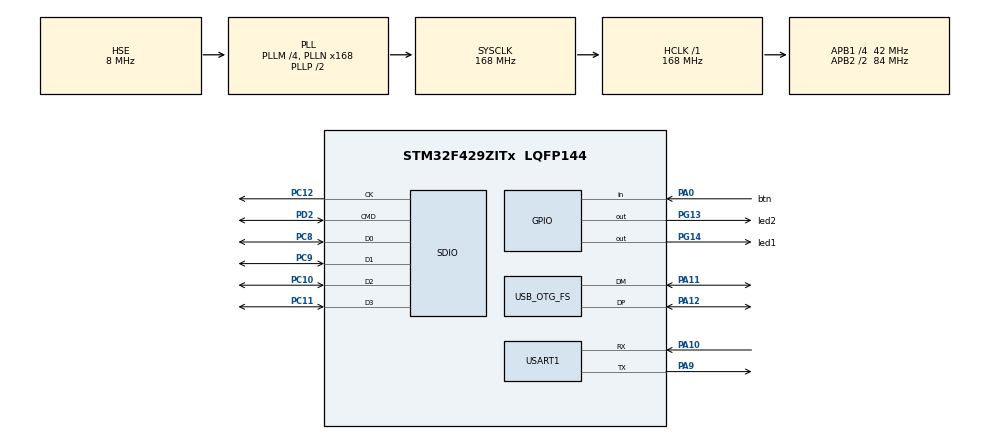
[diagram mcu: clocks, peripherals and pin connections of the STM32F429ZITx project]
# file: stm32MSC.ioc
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Mcu.Family=STM32F4
Dma.SDIO_TX.1.MemInc=DMA_MINC_ENABLE
USB_DEVICE.CLASS_NAME_FS=MSC
RCC.CortexFreq_Value=168000000
PC10.GPIO_PuPd=GPIO_PULLUP
FATFS._USE_LFN=1
FATFS0.BSP.api=Unknown
VP_FATFS_VS_SDIO.Mode=SDIO
PC12.Signal=SDIO_CK
PC10.Signal=SDIO_D2
PA11.Mode=Device_Only
PA0/WKUP.Signal=GPIO_Input
PG13.Signal=GPIO_Output
Dma.SDIO_TX.1.PeriphBurst=DMA_PBURST_INC4
RCC.SYSCLKSource=RCC_SYSCLKSOURCE_PLLCLK
ProjectManager.StackSize=0x4000
Dma.SDIO_RX.0.Direction=DMA_PERIPH_TO_MEMORY
Dma.SDIO_TX.1.PeriphInc=DMA_PINC_DISABLE
Dma.SDIO_TX.1.Instance=DMA2_Stream6
VP_TIM7_VS_ClockSourceINT.Mode=Enable_Timer
PC11.GPIO_PuPd=GPIO_PULLUP
PA12.Signal=USB_OTG_FS_DP
Dma.SDIO_TX.1.PeriphDataAlignment=DMA_PDATAALIGN_WORD
PH0/OSC_IN.Mode=HSE-External-Oscillator
RCC.HCLKFreq_Value=168000000
RCC.APB2TimFreq_Value=168000000
PH1/OSC_OUT.Signal=RCC_OSC_OUT
Dma.SDIO_TX.1.FIFOMode=DMA_FIFOMODE_ENABLE
RCC.AHBFreq_Value=168000000
FATFS0.BSP.ip=GPIO
RCC.HSE_VALUE=8000000
FATFS0.BSP.i2caddr=0
Dma.SDIO_TX.1.MemBurst=DMA_MBURST_INC4
PA14.Mode=Serial_Wire
PC9.Mode=SD_4_bits_Wide_bus
Dma.SDIO_TX.1.Direction=DMA_MEMORY_TO_PERIPH
Dma.SDIO_RX.0.MemDataAlignment=DMA_MDATAALIGN_WORD
PH1/OSC_OUT.Mode=HSE-External-Oscillator
Mcu.Package=LQFP144
FATFS0.BSP.solution=PA0/WKUP
NVIC.OTG_FS_IRQn=true\:0\:0\:false\:false\:true\:true\:true
PA10.Signal=USART1_RX
USB_OTG_FS.VirtualMode=Device_Only
PC11.Mode=SD_4_bits_Wide_bus
Dma.SDIO_TX.1.FIFOThreshold=DMA_FIFO_THRESHOLD_FULL
RCC.PLLSAIN=50
Dma.SDIO_TX.1.Priority=DMA_PRIORITY_LOW
RCC.APB2CLKDivider=RCC_HCLK_DIV2
Dma.Request1=SDIO_TX
RCC.APB1TimFreq_Value=84000000
VP_USB_DEVICE_VS_USB_DEVICE_MSC_FS.Mode=MSC_FS
Dma.SDIO_RX.0.MemBurst=DMA_MBURST_INC4
PC12.GPIO_PuPd=GPIO_PULLUP
Dma.SDIO_RX.0.Instance=DMA2_Stream3
NVIC.USART1_IRQn=true\:0\:0\:false\:false\:true\:true\:true
Dma.Request0=SDIO_RX
NVIC.TIM7_IRQn=true\:0\:0\:false\:false\:true\:true\:true
FATFS._MIN_SS=512
Dma.SDIO_RX.0.FIFOMode=DMA_FIFOMODE_ENABLE
FATFS0.BSP.STBoard=false
USB_DEVICE.VirtualMode-MSC_FS=Msc
Dma.SDIO_RX.0.Mode=DMA_PFCTRL
Dma.SDIO_RX.0.Priority=DMA_PRIORITY_LOW
PA10.Mode=Asynchronous
PD2.GPIO_PuPd=GPIO_PULLUP
USB_DEVICE.VirtualModeFS=Msc_FS
PC11.Signal=SDIO_D3
FATFS0.BSP.mode=Input
PC8.Signal=SDIO_D0
Dma.SDIO_RX.0.PeriphInc=DMA_PINC_DISABLE
PC10.Mode=SD_4_bits_Wide_bus
RCC.APB1CLKDivider=RCC_HCLK_DIV4
PG13.GPIO_Label=led2
NVIC.SDIO_IRQn=true\:0\:0\:false\:false\:true\:true\:true
FATFS0.BSP.instance=PA0/WKUP
PA13.Signal=SYS_JTMS-SWDIO
PA9.Mode=Asynchronous
Dma.SDIO_TX.1.MemDataAlignment=DMA_MDATAALIGN_WORD
Dma.SDIO_RX.0.MemInc=DMA_MINC_ENABLE
Dma.SDIO_RX.0.FIFOThreshold=DMA_FIFO_THRESHOLD_FULL
ProjectManager.TargetToolchain=STM32CubeIDE
PA9.Signal=USART1_TX
SDIO.ClockDiv=5
NVIC.DMA2_Stream3_IRQn=true\:0\:0\:false\:false\:true\:false\:true
NVIC.DMA2_Stream6_IRQn=true\:0\:0\:false\:false\:true\:false\:true
RCC.LSE_VALUE=32768
Dma.SDIO_RX.0.PeriphDataAlignment=DMA_PDATAALIGN_WORD
PD2.Mode=SD_4_bits_Wide_bus
FATFS.BSP.number=1
PG14.Signal=GPIO_Output
PC12.Mode=SD_4_bits_Wide_bus
TIM7.Prescaler=83
board=STM32F429I-DISC1
RCC.VCOOutputFreq_Value=336000000
FATFS.USE_DMA_CODE_SD=1
PH0/OSC_IN.Signal=RCC_OSC_IN
RCC.APB2Freq_Value=84000000
USB_DEVICE.PRODUCT_STRING_MSC_FS=STMMSCDUCKY
PC9.GPIO_PuPd=GPIO_PULLUP
PA0/WKUP.GPIO_Label=btn
Dma.SDIO_TX.1.Mode=DMA_PFCTRL
PA13.Mode=Serial_Wire
PG14.GPIO_Label=led1
Mcu.Name=STM32F429ZITx
FATFS._MAX_SS=4096
PC8.Mode=SD_4_bits_Wide_bus
RCC.48MHZClocksFreq_Value=48000000
PC8.GPIO_PuPd=GPIO_PULLUP
RCC.SYSCLKFreq_VALUE=168000000
PA12.Mode=Device_Only
USART1.VirtualMode=VM_ASYNC
PA11.Signal=USB_OTG_FS_DM
PA14.Signal=SYS_JTCK-SWCLK
ProjectManager.HeapSize=0x2000
RCC.HSI_VALUE=16000000
RCC.PLLQ=7
NVIC.PriorityGroup=NVIC_PRIORITYGROUP_4
RCC.PLLM=4
RCC.PLLN=168
Dma.SDIO_RX.0.PeriphBurst=DMA_PBURST_INC4
PC9.Signal=SDIO_D1
PD2.Signal=SDIO_CMD
RCC.APB1Freq_Value=42000000
FATFS0.BSP.name=Detect_SDIO

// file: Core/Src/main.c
/* USER CODE BEGIN Header */
/**
  ******************************************************************************
  * @file           : main.c
  * @brief          : Main program body
  ******************************************************************************
  * @attention
  *
  * <h2><center>&copy; Copyright (c) 2021 STMicroelectronics.
  * All rights reserved.</center></h2>
  *
  * This software component is licensed by ST under Ultimate Liberty license
  * SLA0044, the "License"; You may not use this file except in compliance with
  * the License. You may obtain a copy of the License at:
  *                             www.st.com/SLA0044
  *
  ******************************************************************************
  */
/* USER CODE END Header */
#include "main.h"
#include "dma.h"
#include "fatfs.h"
#include "sdio.h"
#include "tim.h"
#include "usart.h"
#include "usb_device.h"
#include "gpio.h"

/* USER CODE BEGIN Includes */
#include "File_Handling.h"
#include "printf_override.h"
/* USER CODE END Includes */

void SystemClock_Config(void);

/* USER CODE BEGIN 0 */
char buffer[100];
int indx = 0;
/* USER CODE END 0 */

int main(void)
{

  /* MCU Configuration--------------------------------------------------------*/

  /* Reset of all peripherals, Initializes the Flash interface and the Systick. */
  HAL_Init();

  /* Configure the system clock */
  SystemClock_Config();

  /* Initialize all configured peripherals */
  MX_GPIO_Init();
  MX_DMA_Init();
  MX_USART1_UART_Init();
  MX_USB_DEVICE_Init();
  MX_TIM7_Init();
  MX_SDIO_SD_Init();
  MX_FATFS_Init();
  /* USER CODE BEGIN 2 */
  printf_init();
  printf("Hello World!\n\r");
  Mount_SD("/");
  Format_SD();
  Check_SD_Space();
  Create_File("FILE1.TXT");
  Create_File("FILE2.TXT");
  Unmount_SD("/");

  for (indx = 0; indx < 15; indx++)
  {
	Mount_SD("/");
	sprintf(buffer, "Hello ---> %d\n", indx);
	Update_File("FILE1.TXT", buffer);
	sprintf(buffer, "world ---> %d\n", indx);
	Update_File("FILE2.TXT", buffer);
	Unmount_SD("/");

	HAL_Delay(500);
  }
  /* USER CODE END 2 */

  /* Infinite loop */
  while (1)
  {

  }
}

void SystemClock_Config(void)
{
  RCC_OscInitTypeDef RCC_OscInitStruct = {0};
  RCC_ClkInitTypeDef RCC_ClkInitStruct = {0};

  /** Configure the main internal regulator output voltage
  */
  __HAL_RCC_PWR_CLK_ENABLE();
  __HAL_PWR_VOLTAGESCALING_CONFIG(PWR_REGULATOR_VOLTAGE_SCALE1);
  /** Initializes the RCC Oscillators according to the specified parameters
  * in the RCC_OscInitTypeDef structure.
  */
  RCC_OscInitStruct.OscillatorType = RCC_OSCILLATORTYPE_HSE;
  RCC_OscInitStruct.HSEState = RCC_HSE_ON;
  RCC_OscInitStruct.PLL.PLLState = RCC_PLL_ON;
  RCC_OscInitStruct.PLL.PLLSource = RCC_PLLSOURCE_HSE;
  RCC_OscInitStruct.PLL.PLLM = 4;
  RCC_OscInitStruct.PLL.PLLN = 168;
  RCC_OscInitStruct.PLL.PLLP = RCC_PLLP_DIV2;
  RCC_OscInitStruct.PLL.PLLQ = 7;
  if (HAL_RCC_OscConfig(&RCC_OscInitStruct) != HAL_OK)
  {
    Error_Handler();
  }
  /** Initializes the CPU, AHB and APB buses clocks
  */
  RCC_ClkInitStruct.ClockType = RCC_CLOCKTYPE_HCLK|RCC_CLOCKTYPE_SYSCLK
                              |RCC_CLOCKTYPE_PCLK1|RCC_CLOCKTYPE_PCLK2;
  RCC_ClkInitStruct.SYSCLKSource = RCC_SYSCLKSOURCE_PLLCLK;
  RCC_ClkInitStruct.AHBCLKDivider = RCC_SYSCLK_DIV1;
  RCC_ClkInitStruct.APB1CLKDivider = RCC_HCLK_DIV4;
  RCC_ClkInitStruct.APB2CLKDivider = RCC_HCLK_DIV2;

  if (HAL_RCC_ClockConfig(&RCC_ClkInitStruct, FLASH_LATENCY_5) != HAL_OK)
  {
    Error_Handler();
  }
}

void Error_Handler(void)
{
  __disable_irq();
  while (1)
  {
  }
}

/************************ (C) COPYRIGHT STMicroelectronics *****END OF FILE****/
